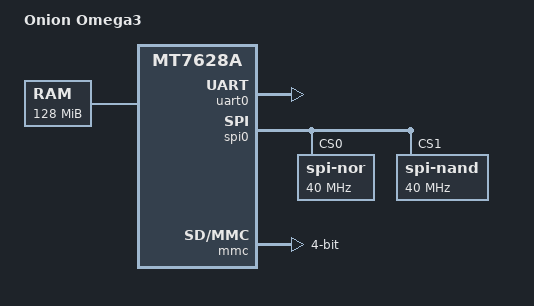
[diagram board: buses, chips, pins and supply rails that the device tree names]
// SPDX-License-Identifier: GPL-2.0
/*
 * Copyright (C) 2018 Stefan Roese <sr@denx.de>
 */

/dts-v1/;

#include "mt7628a.dtsi"
#include <dt-bindings/gpio/gpio.h>

/ {
	compatible = "onion,omega3", "ralink,mt7628a-soc";
	model = "Onion Omega3";

	aliases {
		serial0 = &uart0;
		spi0 = &spi0;
	};

	memory@0 {
		device_type = "memory";
		reg = <0x0 0x08000000>;
	};

	chosen {
		stdout-path = &uart0;
	};
};

&pinctrl {
	state_default: pin_state {
		p0led {
			groups = "p0led_a";
			function = "led";
		};
	};
};

&uart0 {
	status = "okay";
};

&spi0 {
	status = "okay";
	num-cs = <2>;

	pinctrl-names = "default";
	pinctrl-0 = <&spi_dual_pins>;

	spi-nor@0 {
		#address-cells = <1>;
		#size-cells = <1>;
		compatible = "jedec,spi-nor";
		spi-max-frequency = <40000000>;
		reg = <0>;
	};

	spi-nand@1 {
		#address-cells = <1>;
		#size-cells = <1>;
		compatible = "spi-nand";
		spi-max-frequency = <40000000>;
		reg = <1>;
	};
};

&eth {
	pinctrl-names = "default";
	pinctrl-0 = <&ephy_iot_mode>;
	mediatek,poll-link-phy = <0>;
};

&mmc {
	status = "okay";

	bus-width = <4>;
	max-frequency = <48000000>;
	cap-sd-highspeed;
	cap-mmc-highspeed;

	pinctrl-names = "default";
	pinctrl-0 = <&sd_iot_mode>;
};
